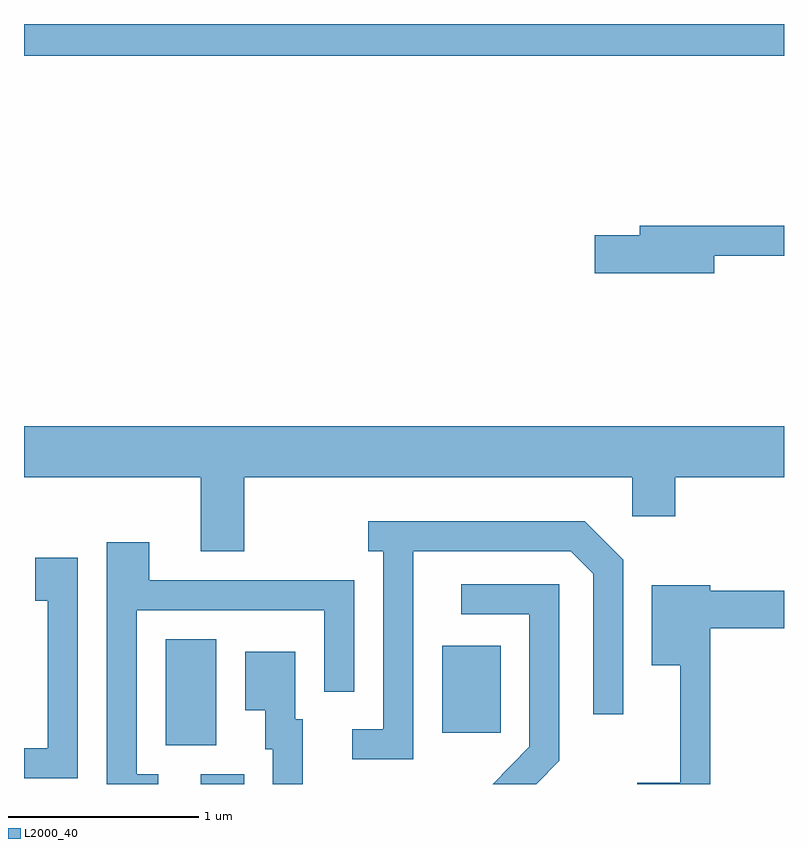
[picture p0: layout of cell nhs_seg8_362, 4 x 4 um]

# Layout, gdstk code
import gdstk
lib = gdstk.Library(unit=1e-6, precision=1e-09)
def R(c, l, rs):  # rectangles x0, y0, x1, y1
    for r in rs: c.add(gdstk.rectangle(r[:2], r[2:], *l))
def P(c, l, *ps):  # polygons
    for p in ps: c.add(gdstk.Polygon(p, *l))
L2000_40 = (2000, 40)

nhs_seg8_362 = lib.new_cell('nhs_seg8_362')
R(nhs_seg8_362, L2000_40, [(196.541,1850.342,196.769,1850.394), (196.356,1850.546,196.624,1851.104), (197.811,1850.611,198.119,1851.069), (195.611,1854.176,199.611,1854.342)])
P(nhs_seg8_362, L2000_40, [(199.244,1853.121),(199.611,1853.121),(199.611,1853.279),(198.851,1853.279),(198.851,1853.229),(198.616,1853.229),(198.616,1853.031),(199.244,1853.031)],
  [(196.769,1851.956),(198.811,1851.956),(198.811,1851.751),(199.039,1851.751),(199.039,1851.956),(199.611,1851.956),(199.611,1852.224),(195.611,1852.224),(195.611,1851.956),(196.541,1851.956),(196.541,1851.566),(196.769,1851.566)],
  [(197.659,1851.566),(198.489,1851.566),(198.606,1851.449),(198.606,1850.708),(198.764,1850.708),(198.764,1851.522),(198.562,1851.724),(197.423,1851.724),(197.423,1851.566),(197.501,1851.566),(197.501,1850.629),(197.338,1850.629),(197.338,1850.471),(197.659,1850.471)],
  [(196.318,1850.394),(196.204,1850.394),(196.204,1851.256),(197.191,1851.256),(197.191,1850.828),(197.349,1850.828),(197.349,1851.414),(196.269,1851.414),(196.269,1851.614),(196.046,1851.614),(196.046,1850.342),(196.318,1850.342)],
  [(195.894,1851.534),(195.671,1851.534),(195.671,1851.306),(195.736,1851.306),(195.736,1850.529),(195.611,1850.529),(195.611,1850.371),(195.894,1850.371)],
  [(198.429,1850.464),(198.429,1851.394),(197.913,1851.394),(197.913,1851.236),(198.271,1851.236),(198.271,1850.537),(198.077,1850.342),(198.307,1850.342)],
  [(199.224,1851.161),(199.611,1851.161),(199.611,1851.359),(199.224,1851.359),(199.224,1851.389),(198.916,1851.389),(198.916,1850.966),(199.066,1850.966),(199.066,1850.349),(198.838,1850.349),(198.838,1850.342),(199.224,1850.342)],
  [(197.079,1850.684),(197.039,1850.684),(197.039,1851.039),(196.776,1851.039),(196.776,1850.731),(196.881,1850.731),(196.881,1850.526),(196.921,1850.526),(196.921,1850.342),(197.079,1850.342)])

lib.write_gds('nhs_seg8_362.gds')
